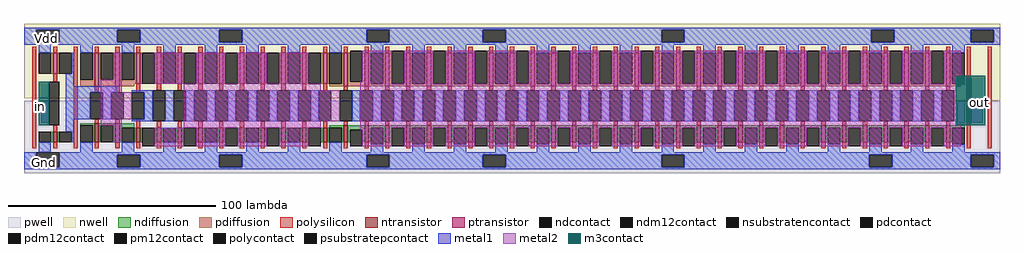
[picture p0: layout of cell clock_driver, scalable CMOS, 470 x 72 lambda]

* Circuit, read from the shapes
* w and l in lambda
.subckt clock_driver Gnd Vdd in out
M1 n1 in Gnd Gnd nfet w=5 l=2
M2 n2 n1 Gnd Gnd nfet w=9 l=2 m=2
M3 n3 n2 Gnd Gnd nfet w=7 l=2 m=10
M4 out n3 Gnd Gnd nfet w=8 l=2 m=30
M5 n1 in Vdd Vdd pfet w=10 l=2
M6 n2 n1 Vdd Vdd pfet w=16 l=2 m=2
M7 n3 n2 Vdd Vdd pfet w=15 l=2 m=10
M8 out n3 Vdd Vdd pfet w=16 l=2 m=30
.ends

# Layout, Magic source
magic
tech scmos
<< nwell >>
rect -61 25 409 61
rect 387 24 409 25
<< pwell >>
rect -61 -11 409 24
<< ntransistor >>
rect -47 4 -45 9
rect -27 4 -25 13
rect -17 4 -15 13
rect -7 4 -5 11
rect 3 4 5 11
rect 13 4 15 11
rect 23 4 25 11
rect 33 4 35 11
rect 43 4 45 11
rect 53 4 55 11
rect 63 4 65 11
rect 73 4 75 11
rect 83 4 85 11
rect 93 4 95 12
rect 103 4 105 12
rect 113 4 115 12
rect 123 4 125 12
rect 133 4 135 12
rect 143 4 145 12
rect 153 4 155 12
rect 163 4 165 12
rect 173 4 175 12
rect 183 4 185 12
rect 193 4 195 12
rect 203 4 205 12
rect 213 4 215 12
rect 223 4 225 12
rect 233 4 235 12
rect 243 4 245 12
rect 253 4 255 12
rect 263 4 265 12
rect 273 4 275 12
rect 283 4 285 12
rect 293 4 295 12
rect 303 4 305 12
rect 313 4 315 12
rect 323 4 325 12
rect 333 4 335 12
rect 343 4 345 12
rect 353 4 355 12
rect 363 4 365 12
rect 373 4 375 12
rect 383 4 385 12
<< ptransistor >>
rect -47 37 -45 47
rect -27 31 -25 47
rect -17 31 -15 47
rect -7 32 -5 47
rect 3 32 5 47
rect 13 32 15 47
rect 23 32 25 47
rect 33 32 35 47
rect 43 32 45 47
rect 53 32 55 47
rect 63 32 65 47
rect 73 32 75 47
rect 83 32 85 47
rect 93 31 95 47
rect 103 31 105 47
rect 113 31 115 47
rect 123 31 125 47
rect 133 31 135 47
rect 143 31 145 47
rect 153 31 155 47
rect 163 31 165 47
rect 173 31 175 47
rect 183 31 185 47
rect 193 31 195 47
rect 203 31 205 47
rect 213 31 215 47
rect 223 31 225 47
rect 233 31 235 47
rect 243 31 245 47
rect 253 31 255 47
rect 263 31 265 47
rect 273 31 275 47
rect 283 31 285 47
rect 293 31 295 47
rect 303 31 305 47
rect 313 31 315 47
rect 323 31 325 47
rect 333 31 335 47
rect 343 31 345 47
rect 353 31 355 47
rect 363 31 365 47
rect 373 31 375 47
rect 383 31 385 47
<< ndiffusion >>
rect -48 4 -47 9
rect -45 4 -44 9
rect -34 12 -27 13
rect -28 4 -27 12
rect -25 12 -17 13
rect -25 4 -24 12
rect -18 4 -17 12
rect -15 11 -8 13
rect 86 11 93 12
rect -15 4 -14 11
rect -8 4 -7 11
rect -5 4 -4 11
rect 2 4 3 11
rect 5 4 6 11
rect 12 4 13 11
rect 15 4 16 11
rect 22 4 23 11
rect 25 4 26 11
rect 32 4 33 11
rect 35 4 36 11
rect 42 4 43 11
rect 45 4 46 11
rect 52 4 53 11
rect 55 4 56 11
rect 62 4 63 11
rect 65 4 66 11
rect 72 4 73 11
rect 75 4 76 11
rect 82 4 83 11
rect 85 4 86 11
rect 92 4 93 11
rect 95 10 103 12
rect 95 4 96 10
rect 102 4 103 10
rect 105 11 113 12
rect 105 4 106 11
rect 112 4 113 11
rect 115 11 123 12
rect 115 4 116 11
rect 122 4 123 11
rect 125 11 133 12
rect 125 4 126 11
rect 132 4 133 11
rect 135 11 143 12
rect 135 4 136 11
rect 142 4 143 11
rect 145 11 153 12
rect 145 4 146 11
rect 152 4 153 11
rect 155 11 163 12
rect 155 4 156 11
rect 162 4 163 11
rect 165 11 173 12
rect 165 4 166 11
rect 172 4 173 11
rect 175 11 183 12
rect 175 4 176 11
rect 182 4 183 11
rect 185 11 193 12
rect 185 4 186 11
rect 192 4 193 11
rect 195 11 203 12
rect 195 4 196 11
rect 202 4 203 11
rect 205 11 213 12
rect 205 4 206 11
rect 212 4 213 11
rect 215 11 223 12
rect 215 4 216 11
rect 222 4 223 11
rect 225 11 233 12
rect 225 4 226 11
rect 232 4 233 11
rect 235 11 243 12
rect 235 4 236 11
rect 242 4 243 11
rect 245 11 253 12
rect 245 4 246 11
rect 252 4 253 11
rect 255 11 263 12
rect 255 4 256 11
rect 262 4 263 11
rect 265 11 273 12
rect 265 4 266 11
rect 272 4 273 11
rect 275 11 283 12
rect 275 4 276 11
rect 282 4 283 11
rect 285 11 293 12
rect 285 4 286 11
rect 292 4 293 11
rect 295 11 303 12
rect 295 4 296 11
rect 302 4 303 11
rect 305 11 313 12
rect 305 4 306 11
rect 312 4 313 11
rect 315 11 323 12
rect 315 4 316 11
rect 322 4 323 11
rect 325 11 333 12
rect 325 4 326 11
rect 332 4 333 11
rect 335 11 343 12
rect 335 4 336 11
rect 342 4 343 11
rect 345 11 353 12
rect 345 4 346 11
rect 352 4 353 11
rect 355 11 363 12
rect 355 4 356 11
rect 362 4 363 11
rect 365 11 373 12
rect 365 4 366 11
rect 372 4 373 11
rect 375 11 383 12
rect 375 4 376 11
rect 382 4 383 11
rect 385 11 392 12
rect 385 4 386 11
<< pdiffusion >>
rect -48 37 -47 47
rect -45 37 -44 47
rect -28 34 -27 47
rect -34 31 -27 34
rect -25 34 -24 47
rect -18 34 -17 47
rect -25 31 -17 34
rect -15 34 -14 47
rect -8 34 -7 47
rect -15 32 -7 34
rect -5 32 -4 47
rect 2 32 3 47
rect 5 32 6 47
rect 12 32 13 47
rect 15 32 16 47
rect 22 32 23 47
rect 25 32 26 47
rect 32 32 33 47
rect 35 32 36 47
rect 42 32 43 47
rect 45 32 46 47
rect 52 32 53 47
rect 55 32 56 47
rect 62 32 63 47
rect 65 32 66 47
rect 72 32 73 47
rect 75 32 76 47
rect 82 32 83 47
rect 85 32 86 47
rect 92 32 93 47
rect -15 31 -8 32
rect 86 31 93 32
rect 95 33 96 47
rect 102 33 103 47
rect 95 31 103 33
rect 105 32 106 47
rect 112 32 113 47
rect 105 31 113 32
rect 115 32 116 47
rect 122 32 123 47
rect 115 31 123 32
rect 125 32 126 47
rect 132 32 133 47
rect 125 31 133 32
rect 135 32 136 47
rect 142 32 143 47
rect 135 31 143 32
rect 145 32 146 47
rect 152 32 153 47
rect 145 31 153 32
rect 155 32 156 47
rect 162 32 163 47
rect 155 31 163 32
rect 165 32 166 47
rect 172 32 173 47
rect 165 31 173 32
rect 175 32 176 47
rect 182 32 183 47
rect 175 31 183 32
rect 185 32 186 47
rect 192 32 193 47
rect 185 31 193 32
rect 195 32 196 47
rect 202 32 203 47
rect 195 31 203 32
rect 205 32 206 47
rect 212 32 213 47
rect 205 31 213 32
rect 215 32 216 47
rect 222 32 223 47
rect 215 31 223 32
rect 225 32 226 47
rect 232 32 233 47
rect 225 31 233 32
rect 235 32 236 47
rect 242 32 243 47
rect 235 31 243 32
rect 245 32 246 47
rect 252 32 253 47
rect 245 31 253 32
rect 255 32 256 47
rect 262 32 263 47
rect 255 31 263 32
rect 265 32 266 47
rect 272 32 273 47
rect 265 31 273 32
rect 275 32 276 47
rect 282 32 283 47
rect 275 31 283 32
rect 285 32 286 47
rect 292 32 293 47
rect 285 31 293 32
rect 295 32 296 47
rect 302 32 303 47
rect 295 31 303 32
rect 305 32 306 47
rect 312 32 313 47
rect 305 31 313 32
rect 315 32 316 47
rect 322 32 323 47
rect 315 31 323 32
rect 325 32 326 47
rect 332 32 333 47
rect 325 31 333 32
rect 335 32 336 47
rect 342 32 343 47
rect 335 31 343 32
rect 345 32 346 47
rect 352 32 353 47
rect 345 31 353 32
rect 355 32 356 47
rect 362 32 363 47
rect 355 31 363 32
rect 365 32 366 47
rect 372 32 373 47
rect 365 31 373 32
rect 375 32 376 47
rect 382 32 383 47
rect 375 31 383 32
rect 385 32 386 47
rect 385 31 390 32
<< ndcontact >>
rect -54 4 -48 9
rect -44 4 -38 9
rect -34 4 -28 12
rect -14 4 -8 11
rect 6 4 12 11
rect 26 4 32 11
rect 46 4 52 11
rect 66 4 72 11
rect 86 4 92 11
rect 106 3 112 11
rect 126 3 132 11
rect 146 3 152 11
rect 166 3 172 11
rect 186 3 192 11
rect 206 3 212 11
rect 226 3 232 11
rect 246 3 252 11
rect 266 3 272 11
rect 286 3 292 11
rect 306 3 312 11
rect 326 3 332 11
rect 346 3 352 11
rect 366 3 372 11
rect 386 3 392 11
<< pdcontact >>
rect -54 37 -48 47
rect -44 37 -38 47
rect -34 34 -28 47
rect -14 34 -8 47
rect 6 32 12 47
rect 26 32 32 47
rect 46 32 52 47
rect 66 32 72 47
rect 86 32 92 47
rect 106 32 112 47
rect 126 32 132 47
rect 146 32 152 47
rect 166 32 172 47
rect 186 32 192 47
rect 206 32 212 47
rect 226 32 232 47
rect 246 32 252 47
rect 266 32 272 47
rect 286 32 292 47
rect 306 32 312 47
rect 326 32 332 47
rect 346 32 352 47
rect 366 32 372 47
rect 386 32 392 47
<< psubstratepcontact >>
rect -55 -8 -44 -1
rect -16 -8 -5 -2
rect 33 -8 44 -2
rect 104 -8 115 -2
rect 160 -8 171 -2
rect 246 -8 257 -2
rect 346 -8 357 -2
rect 395 -8 406 -2
<< nsubstratencontact >>
rect -55 52 -44 58
rect -16 52 -5 58
rect 33 52 44 58
rect 104 52 115 58
rect 160 52 171 58
rect 246 52 257 58
rect 347 52 358 58
rect 395 52 406 58
<< polysilicon >>
rect -57 1 -55 50
rect -47 47 -45 50
rect -47 33 -45 37
rect -47 9 -45 12
rect -47 1 -45 4
rect -37 1 -35 50
rect -27 47 -25 50
rect -17 47 -15 50
rect -7 47 -5 50
rect 3 47 5 50
rect 13 47 15 50
rect 23 47 25 50
rect 33 47 35 50
rect 43 47 45 50
rect 53 47 55 50
rect 63 47 65 50
rect 73 47 75 50
rect 83 47 85 50
rect 93 47 95 50
rect -27 28 -25 31
rect -17 28 -15 31
rect -7 28 -5 32
rect 3 29 5 32
rect 13 29 15 32
rect 23 29 25 32
rect 33 29 35 32
rect 43 29 45 32
rect 53 29 55 32
rect 63 29 65 32
rect 73 29 75 32
rect 83 29 85 32
rect 103 47 105 50
rect 113 47 115 50
rect 123 47 125 50
rect 133 47 135 50
rect 143 47 145 50
rect 153 47 155 50
rect 163 47 165 50
rect 173 47 175 50
rect 183 47 185 50
rect 193 47 195 50
rect 203 47 205 50
rect 213 47 215 50
rect 223 47 225 50
rect 233 47 235 50
rect 243 47 245 50
rect 253 47 255 50
rect 263 47 265 50
rect 273 47 275 50
rect 283 47 285 50
rect 293 47 295 50
rect 303 47 305 50
rect 313 47 315 50
rect 323 47 325 50
rect 333 47 335 50
rect 343 47 345 50
rect 353 47 355 50
rect 363 47 365 50
rect 373 47 375 50
rect 383 47 385 50
rect 93 29 95 31
rect 103 29 105 31
rect 113 29 115 31
rect 123 29 125 31
rect 133 29 135 31
rect 143 29 145 31
rect 153 29 155 31
rect 163 29 165 31
rect 173 29 175 31
rect 183 29 185 31
rect 193 29 195 31
rect 203 29 205 31
rect 213 29 215 31
rect 223 29 225 31
rect 233 29 235 31
rect 243 29 245 31
rect 253 29 255 31
rect 263 29 265 31
rect 273 29 275 31
rect 283 29 285 31
rect 293 29 295 31
rect 303 29 305 31
rect 313 29 315 31
rect 323 29 325 31
rect 333 29 335 31
rect 343 29 345 31
rect 353 29 355 31
rect 363 29 365 31
rect 373 29 375 31
rect 383 29 385 31
rect -27 13 -25 15
rect -17 13 -15 15
rect -7 11 -5 15
rect 3 11 5 14
rect 13 11 15 14
rect 23 11 25 14
rect 33 11 35 14
rect 43 11 45 14
rect 53 11 55 14
rect 63 11 65 14
rect 73 11 75 14
rect 83 11 85 14
rect 93 12 95 14
rect 103 12 105 14
rect 113 12 115 14
rect 123 12 125 14
rect 133 12 135 14
rect 143 12 145 14
rect 153 12 155 14
rect 163 12 165 14
rect 173 12 175 14
rect 183 12 185 14
rect 193 12 195 14
rect 203 12 205 14
rect 213 12 215 14
rect 223 12 225 14
rect 233 12 235 14
rect 243 12 245 14
rect 253 12 255 14
rect 263 12 265 14
rect 273 12 275 14
rect 283 12 285 14
rect 293 12 295 14
rect 303 12 305 14
rect 313 12 315 14
rect 323 12 325 14
rect 333 12 335 14
rect 343 12 345 14
rect 353 12 355 14
rect 363 12 365 14
rect 373 12 375 14
rect 383 12 385 14
rect -27 1 -25 4
rect -17 1 -15 4
rect -7 1 -5 4
rect 3 1 5 4
rect 13 1 15 4
rect 23 1 25 4
rect 33 1 35 4
rect 43 1 45 4
rect 53 1 55 4
rect 63 1 65 4
rect 73 1 75 4
rect 83 1 85 4
rect 93 1 95 4
rect 103 1 105 4
rect 113 1 115 4
rect 123 1 125 4
rect 133 1 135 4
rect 143 1 145 4
rect 153 1 155 4
rect 163 1 165 4
rect 173 1 175 4
rect 183 1 185 4
rect 193 1 195 4
rect 203 1 205 4
rect 213 1 215 4
rect 223 1 225 4
rect 233 1 235 4
rect 243 1 245 4
rect 253 1 255 4
rect 263 1 265 4
rect 273 1 275 4
rect 283 1 285 4
rect 293 1 295 4
rect 303 1 305 4
rect 313 1 315 4
rect 323 1 325 4
rect 333 1 335 4
rect 343 1 345 4
rect 353 1 355 4
rect 363 1 365 4
rect 373 1 375 4
rect 383 1 385 4
rect 393 1 395 50
rect 403 1 405 50
<< polycontact >>
rect -29 15 -23 28
rect -19 15 -13 28
rect 1 14 7 29
rect 11 14 17 29
rect 21 14 27 29
rect 31 14 37 29
rect 41 14 47 29
rect 51 14 57 29
rect 61 14 67 29
rect 71 14 77 29
rect 81 14 87 29
rect 101 14 107 29
rect 111 14 117 29
rect 121 14 127 29
rect 131 14 137 29
rect 141 14 147 29
rect 151 14 157 29
rect 161 14 167 29
rect 171 14 177 29
rect 181 14 187 29
rect 191 14 197 29
rect 201 14 207 29
rect 211 14 217 29
rect 221 14 227 29
rect 231 14 237 29
rect 241 14 247 29
rect 251 14 257 29
rect 261 14 267 29
rect 271 14 277 29
rect 281 14 287 29
rect 291 14 297 29
rect 301 14 307 29
rect 311 14 317 29
rect 321 14 327 29
rect 331 14 337 29
rect 341 14 347 29
rect 351 14 357 29
rect 361 14 367 29
rect 371 14 377 29
rect 381 14 387 29
<< metal1 >>
rect -61 58 409 59
rect -61 52 -55 58
rect -44 52 -16 58
rect -5 52 33 58
rect 44 52 104 58
rect 115 52 160 58
rect 171 52 246 58
rect 257 52 347 58
rect 358 52 395 58
rect 406 52 409 58
rect -61 51 409 52
rect -54 47 -48 51
rect -34 47 -28 51
rect -14 47 -8 51
rect 6 47 12 51
rect 26 47 32 51
rect 46 47 52 51
rect 66 47 72 51
rect 86 47 92 51
rect -38 37 -37 47
rect -41 31 -37 37
rect 106 47 112 51
rect 126 47 132 51
rect 146 47 152 51
rect 166 47 172 51
rect 186 47 192 51
rect 206 47 212 51
rect 226 47 232 51
rect 246 47 252 51
rect 266 47 272 51
rect 286 47 292 51
rect 306 47 312 51
rect 326 47 332 51
rect 346 47 352 51
rect 366 47 372 51
rect 386 47 392 51
rect -41 28 -16 31
rect -9 28 1 29
rect -41 15 -29 28
rect -23 15 -19 28
rect -3 15 1 28
rect -41 9 -37 15
rect -9 14 1 15
rect 7 14 11 29
rect 17 14 21 29
rect 27 14 31 29
rect 37 14 41 29
rect 47 14 51 29
rect 57 14 61 29
rect 67 14 71 29
rect 77 14 81 29
rect 97 14 101 29
rect 107 14 111 29
rect 117 14 121 29
rect 127 14 131 29
rect 137 14 141 29
rect 147 14 151 29
rect 157 14 161 29
rect 167 14 171 29
rect 177 14 181 29
rect 187 14 191 29
rect 197 14 201 29
rect 207 14 211 29
rect 217 14 221 29
rect 227 14 231 29
rect 237 14 241 29
rect 247 14 251 29
rect 257 14 261 29
rect 267 14 271 29
rect 277 14 281 29
rect 287 14 291 29
rect 297 14 301 29
rect 307 14 311 29
rect 317 14 321 29
rect 327 14 331 29
rect 337 14 341 29
rect 347 14 351 29
rect 357 14 361 29
rect 367 14 371 29
rect 377 14 381 29
rect -38 4 -37 9
rect -54 -1 -48 4
rect -34 -1 -28 4
rect -14 -1 -8 4
rect 6 -1 12 4
rect 26 -1 32 4
rect 46 -1 52 4
rect 66 -1 72 4
rect 86 -1 92 4
rect 106 -1 112 3
rect 126 -1 132 3
rect 146 -1 152 3
rect 166 -1 172 3
rect 186 -1 192 3
rect 206 -1 212 3
rect 226 -1 232 3
rect 246 -1 252 3
rect 266 -1 272 3
rect 286 -1 292 3
rect 306 -1 312 3
rect 326 -1 332 3
rect 346 -1 352 3
rect 366 -1 372 3
rect 386 -1 392 3
rect -61 -8 -55 -1
rect -44 -2 409 -1
rect -44 -8 -16 -2
rect -5 -8 33 -2
rect 44 -8 104 -2
rect 115 -8 160 -2
rect 171 -8 246 -2
rect 257 -8 346 -2
rect 357 -8 395 -2
rect 406 -8 409 -2
rect -61 -9 409 -8
<< pm12contact >>
rect -49 12 -44 33
rect -9 15 -3 28
rect 91 14 97 29
<< pdm12contact >>
rect -24 34 -18 47
rect -4 32 2 47
rect 16 32 22 47
rect 36 32 42 47
rect 56 32 62 47
rect 76 32 82 47
rect 96 33 102 48
rect 116 32 122 48
rect 136 32 142 48
rect 156 32 162 48
rect 176 32 182 48
rect 196 32 202 48
rect 216 32 222 48
rect 236 32 242 48
rect 256 32 262 48
rect 276 32 282 48
rect 296 32 302 48
rect 316 32 322 48
rect 336 32 342 48
rect 356 32 362 48
rect 376 32 382 48
<< ndm12contact >>
rect -24 4 -18 12
rect -4 2 2 11
rect 16 2 22 11
rect 36 2 42 11
rect 56 2 62 11
rect 76 2 82 11
rect 96 2 102 10
rect 116 2 122 11
rect 136 2 142 11
rect 156 2 162 11
rect 176 2 182 11
rect 196 2 202 11
rect 216 2 222 11
rect 236 2 242 11
rect 256 2 262 11
rect 276 2 282 11
rect 296 2 302 11
rect 316 2 322 11
rect 336 2 342 11
rect 356 2 362 11
rect 376 2 382 11
<< metal2 >>
rect -18 34 -14 47
rect -24 28 -14 34
rect 2 32 16 47
rect 22 32 36 47
rect 42 32 56 47
rect 62 32 76 47
rect 102 33 116 48
rect 16 29 82 32
rect 101 32 116 33
rect 122 32 136 48
rect 142 32 156 48
rect 162 32 176 48
rect 182 32 196 48
rect 202 32 216 48
rect 222 32 236 48
rect 242 32 256 48
rect 262 32 276 48
rect 282 32 296 48
rect 302 32 316 48
rect 322 32 336 48
rect 342 32 356 48
rect 362 32 376 48
rect 382 36 390 48
rect 382 32 388 36
rect -24 15 -9 28
rect -24 12 -14 15
rect -18 4 -14 12
rect 16 14 91 29
rect 16 11 82 14
rect 2 2 16 11
rect 22 2 36 11
rect 42 2 56 11
rect 62 2 76 11
rect 101 12 388 32
rect 101 11 390 12
rect 101 10 116 11
rect 102 2 116 10
rect 122 2 136 11
rect 142 2 156 11
rect 162 2 176 11
rect 182 2 196 11
rect 202 2 216 11
rect 222 2 236 11
rect 242 2 256 11
rect 262 2 276 11
rect 282 2 296 11
rect 302 2 316 11
rect 322 2 336 11
rect 342 2 356 11
rect 362 2 376 11
rect 382 2 390 11
<< m3contact >>
rect -54 12 -49 33
rect 388 12 402 36
<< labels >>
rlabel m3contact -53 21 -53 21 3 in
rlabel m3contact 399 23 399 23 1 out
rlabel psubstratepcontact -51 -6 -51 -6 1 Gnd
rlabel nsubstratencontact -50 54 -50 54 5 Vdd
<< end >>
